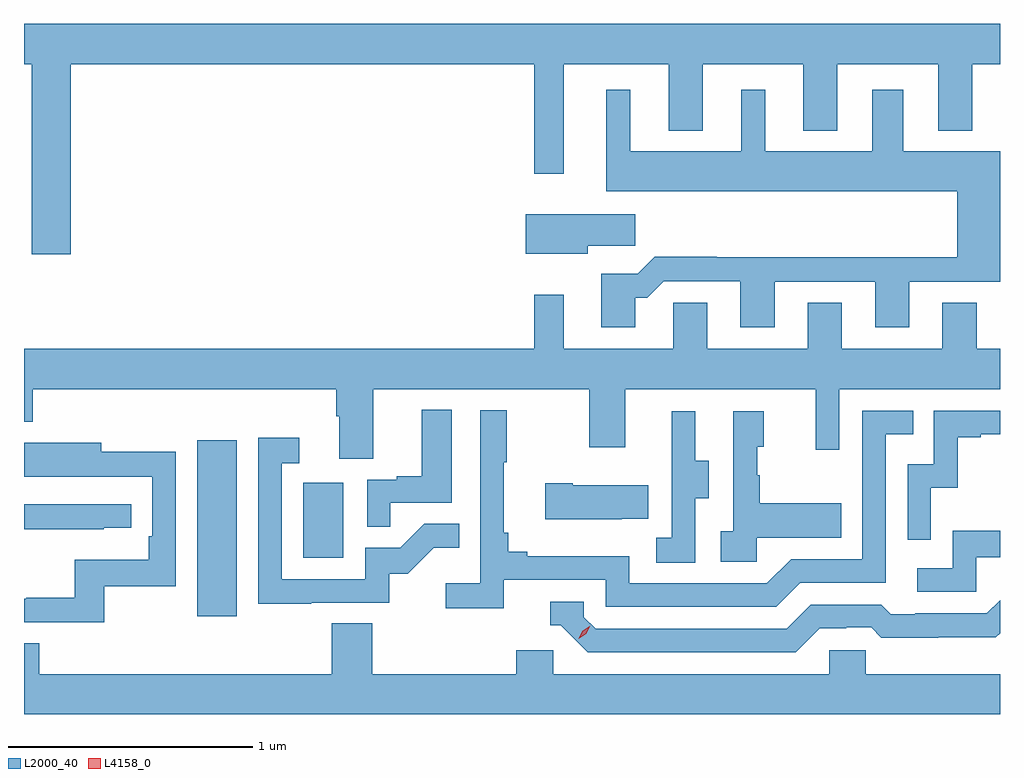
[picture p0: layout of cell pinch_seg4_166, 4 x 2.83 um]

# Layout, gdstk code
import gdstk
lib = gdstk.Library(unit=1e-6, precision=1e-09)
def R(c, l, rs):  # rectangles x0, y0, x1, y1
    for r in rs: c.add(gdstk.rectangle(r[:2], r[2:], *l))
def P(c, l, *ps):  # polygons
    for p in ps: c.add(gdstk.Polygon(p, *l))
L2000_40 = (2000, 40)
L4158_0 = (4158, 0)

pinch_seg4_166 = lib.new_cell('pinch_seg4_166')
R(pinch_seg4_166, L2000_40, [(1117.709,799.884,1117.87,800.605), (1118.144,800.124,1118.308,800.431)])
P(pinch_seg4_166, L2000_40, [(1117.19,802.148),(1119.09,802.148),(1119.09,801.699),(1119.211,801.699),(1119.211,802.148),(1119.641,802.148),(1119.641,801.875),(1119.781,801.875),(1119.781,802.148),(1120.193,802.148),(1120.193,801.875),(1120.333,801.875),(1120.333,802.148),(1120.745,802.148),(1120.745,801.875),(1120.885,801.875),(1120.885,802.148),(1120.999,802.148),(1120.999,802.312),(1116.999,802.312),(1116.999,802.148),(1117.03,802.148),(1117.03,801.369),(1117.19,801.369)],
  [(1119.505,801.191),(1119.554,801.191),(1119.621,801.258),(1119.935,801.258),(1119.935,801.069),(1120.075,801.069),(1120.075,801.255),(1120.487,801.255),(1120.487,801.069),(1120.627,801.069),(1120.627,801.255),(1120.999,801.255),(1120.999,801.79),(1120.603,801.79),(1120.603,802.042),(1120.475,802.042),(1120.475,801.79),(1120.036,801.79),(1120.036,802.042),(1119.938,802.042),(1119.938,801.79),(1119.484,801.79),(1119.484,802.042),(1119.386,802.042),(1119.386,801.626),(1120.823,801.626),(1120.823,801.356),(1119.839,801.356),(1119.839,801.359),(1119.584,801.359),(1119.514,801.289),(1119.365,801.289),(1119.365,801.069),(1119.505,801.069)],
  [(1119.31,801.403),(1119.505,801.403),(1119.505,801.532),(1119.056,801.532),(1119.056,801.371),(1119.31,801.371)],
  [(1118.431,800.816),(1119.316,800.816),(1119.316,800.577),(1119.463,800.577),(1119.463,800.816),(1120.244,800.816),(1120.244,800.568),(1120.341,800.568),(1120.341,800.816),(1120.999,800.816),(1120.999,800.98),(1120.903,800.98),(1120.903,801.17),(1120.763,801.17),(1120.763,800.98),(1120.351,800.98),(1120.351,801.17),(1120.211,801.17),(1120.211,800.98),(1119.799,800.98),(1119.799,801.17),(1119.66,801.17),(1119.66,800.98),(1119.211,800.98),(1119.211,801.202),(1119.09,801.202),(1119.09,800.98),(1116.999,800.98),(1116.999,800.681),(1117.034,800.681),(1117.034,800.816),(1118.279,800.816),(1118.279,800.704),(1118.291,800.704),(1118.291,800.53),(1118.431,800.53)],
  [(1118.501,800.349),(1118.752,800.349),(1118.752,800.731),(1118.63,800.731),(1118.63,800.458),(1118.527,800.458),(1118.527,800.445),(1118.406,800.445),(1118.406,800.251),(1118.501,800.251)],
  [(1118.966,800.034),(1119.384,800.034),(1119.384,799.923),(1120.081,799.923),(1120.18,800.022),(1120.53,800.022),(1120.53,800.631),(1120.643,800.631),(1120.643,800.727),(1120.434,800.727),(1120.434,800.118),(1120.143,800.118),(1120.044,800.019),(1119.48,800.019),(1119.48,800.131),(1119.061,800.131),(1119.061,800.15),(1118.984,800.15),(1118.984,800.227),(1118.965,800.227),(1118.965,800.515),(1118.977,800.515),(1118.977,800.728),(1118.868,800.728),(1118.868,800.02),(1118.727,800.02),(1118.727,799.918),(1118.966,799.918)],
  [(1120.716,800.411),(1120.826,800.411),(1120.826,800.619),(1120.921,800.619),(1120.921,800.631),(1120.999,800.631),(1120.999,800.727),(1120.728,800.727),(1120.728,800.508),(1120.62,800.508),(1120.62,800.199),(1120.716,800.199)],
  [(1119.75,800.368),(1119.805,800.368),(1119.805,800.523),(1119.751,800.523),(1119.751,800.725),(1119.653,800.725),(1119.653,800.511),(1119.654,800.511),(1119.654,800.207),(1119.591,800.207),(1119.591,800.104),(1119.75,800.104)],
  [(1120.002,800.207),(1120.349,800.207),(1120.349,800.347),(1120.015,800.347),(1120.015,800.462),(1120.005,800.462),(1120.005,800.58),(1120.03,800.58),(1120.03,800.725),(1119.906,800.725),(1119.906,800.234),(1119.855,800.234),(1119.855,800.109),(1120.002,800.109)],
  [(1118.177,799.941),(1118.496,799.941),(1118.496,800.058),(1118.572,800.058),(1118.679,800.165),(1118.783,800.165),(1118.783,800.264),(1118.64,800.264),(1118.542,800.166),(1118.397,800.166),(1118.397,800.037),(1118.055,800.037),(1118.055,800.511),(1118.128,800.511),(1118.128,800.617),(1117.959,800.617),(1117.959,799.936),(1118.177,799.936)],
  [(1117.327,800.007),(1117.62,800.007),(1117.62,800.558),(1117.315,800.558),(1117.315,800.596),(1116.999,800.596),(1116.999,800.456),(1117.211,800.456),(1117.211,800.457),(1117.524,800.457),(1117.524,800.212),(1117.511,800.212),(1117.511,800.116),(1117.206,800.116),(1117.206,799.961),(1117.009,799.961),(1117.009,799.956),(1116.999,799.956),(1116.999,799.86),(1117.327,799.86)],
  [(1119.449,800.285),(1119.557,800.285),(1119.557,800.422),(1119.247,800.422),(1119.247,800.43),(1119.135,800.43),(1119.135,800.282),(1119.449,800.282)],
  [(1117.325,800.247),(1117.438,800.247),(1117.438,800.343),(1116.999,800.343),(1116.999,800.242),(1117.325,800.242)],
  [(1120.902,800.127),(1120.999,800.127),(1120.999,800.236),(1120.806,800.236),(1120.806,800.082),(1120.659,800.082),(1120.659,799.986),(1120.902,799.986)],
  [(1120.261,799.836),(1120.368,799.836),(1120.368,799.839),(1120.471,799.839),(1120.513,799.797),(1120.746,799.797),(1120.746,799.799),(1120.982,799.799),(1120.999,799.816),(1120.999,799.951),(1120.944,799.896),(1120.651,799.896),(1120.651,799.893),(1120.552,799.893),(1120.513,799.932),(1120.224,799.932),(1120.125,799.833),(1119.342,799.833),(1119.294,799.881),(1119.294,799.944),(1119.155,799.944),(1119.155,799.848),(1119.198,799.848),(1119.309,799.737),(1120.162,799.737)],
  [(1120.999,799.648),(1120.449,799.648),(1120.449,799.746),(1120.299,799.746),(1120.299,799.648),(1119.168,799.648),(1119.168,799.746),(1119.017,799.746),(1119.017,799.648),(1118.426,799.648),(1118.426,799.856),(1118.261,799.856),(1118.261,799.648),(1117.061,799.648),(1117.061,799.775),(1116.999,799.775),(1116.999,799.484),(1120.999,799.484)])
P(pinch_seg4_166, L4158_0, [(1119.272,799.793),(1119.272,799.794),(1119.288,799.826),(1119.319,799.846),(1119.319,799.846),(1119.319,799.846),(1119.303,799.813),(1119.273,799.793)])

lib.write_gds('pinch_seg4_166.gds')
